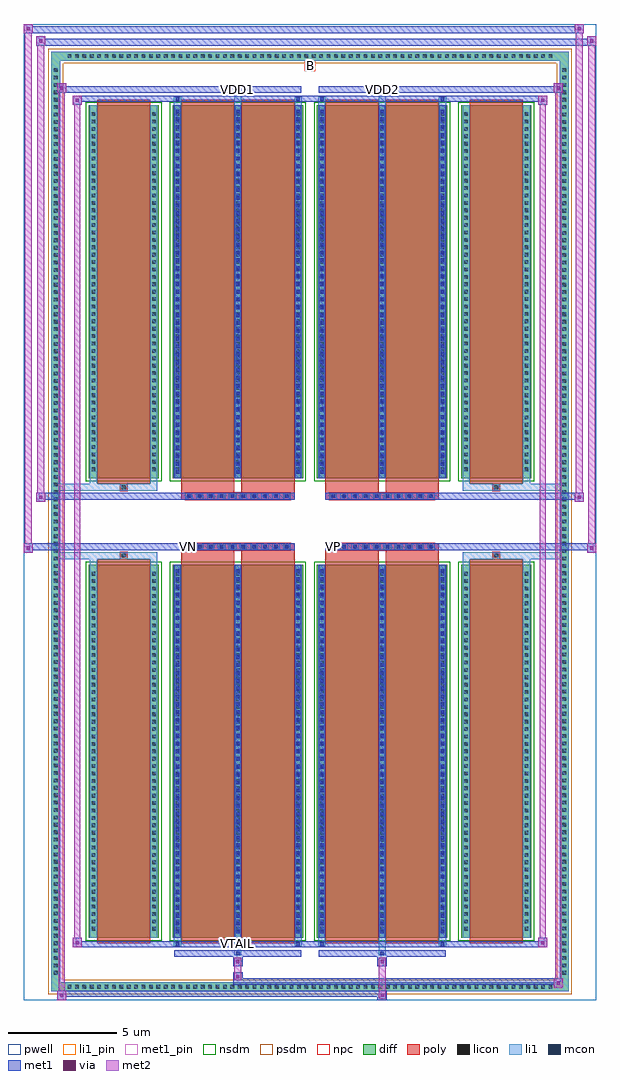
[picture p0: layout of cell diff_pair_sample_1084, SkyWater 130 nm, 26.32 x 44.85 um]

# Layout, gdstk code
import gdstk
lib = gdstk.Library(unit=1e-6, precision=5e-09)
def R(c, l, rs):  # rectangles x0, y0, x1, y1
    for r in rs: c.add(gdstk.rectangle(r[:2], r[2:], *l))
def A(c, l, x, y, w, h, nx, ny, dx, dy):  # array of equal rectangles
    R(c, l, [(x+i*dx, y+j*dy, x+i*dx+w, y+j*dy+h) for i in range(nx) for j in range(ny)])
def P(c, l, *ps):  # polygons
    for p in ps: c.add(gdstk.Polygon(p, *l))
pwell = (64, 44)
diff = (65, 20)
poly = (66, 20)
licon = (66, 44)
li1_pin = (67, 16)
li1 = (67, 20)
mcon = (67, 44)
met1_pin = (68, 16)
met1 = (68, 20)
via = (68, 44)
met2 = (69, 20)
nsdm = (93, 44)
psdm = (94, 20)
npc = (95, 20)

diff_pair_sample_1084 = lib.new_cell('diff_pair_sample_1084')
R(diff_pair_sample_1084, pwell, [(-13.16,-21.99,13.16,22.86), (-10.48,-20.18,-0.01,-0.8), (0.01,-20.18,10.48,-0.8), (-10.48,0.8,-0.01,20.18), (0.01,0.8,10.48,20.18)])
A(diff_pair_sample_1084, diff, -11.255, -21.59, 0.41, 0.41, 66, 2, 0.34, 42.77)
A(diff_pair_sample_1084, diff, -11.89, -20.945, 0.41, 0.41, 1, 123, 0, 0.34)
A(diff_pair_sample_1084, diff, 11.48, -20.945, 0.41, 0.41, 1, 123, 0, 0.34)
R(diff_pair_sample_1084, diff, [(-11.255,-21.59,11.255,-21.18), (-11.89,-20.945,-11.48,20.945), (11.48,-20.945,11.89,20.945), (-10.17,-19.135,-6.95,-1.985), (-6.31,-19.135,-0.32,-1.985), (0.32,-19.135,6.31,-1.985), (6.95,-19.135,10.17,-1.985), (-10.17,1.985,-6.95,19.135), (-6.31,1.985,-0.32,19.135), (0.32,1.985,6.31,19.135), (6.95,1.985,10.17,19.135), (-11.255,21.18,11.255,21.59)])
P(diff_pair_sample_1084, diff, [(11.89,21.59),(-11.89,21.59),(-11.89,-21.18),(-11.48,-21.18),(-11.48,21.18),(11.48,21.18),(11.48,-21.18),(-11.48,-21.18),(-11.89,-21.18),(-11.89,-21.59),(11.89,-21.59)])
A(diff_pair_sample_1084, poly, -5.73, -1.33, 0.33, 0.33, 10, 2, 0.5, 2.33)
A(diff_pair_sample_1084, poly, 0.9, -1.33, 0.33, 0.33, 10, 2, 0.5, 2.33)
R(diff_pair_sample_1084, poly, [(-9.78,-19.385,-7.34,-1.735), (-5.92,-19.385,-3.48,-1.735), (-3.15,-19.385,-0.71,-1.735), (0.71,-19.385,3.15,-1.735), (3.48,-19.385,5.92,-1.735), (7.34,-19.385,9.78,-1.735), (-8.725,-1.735,-8.395,-1.405), (-8.725,-1.735,-8.395,-1.405), (-5.92,-1.735,-3.48,-1.33), (-3.15,-1.735,-0.71,-1.33), (0.71,-1.735,3.15,-1.33), (3.48,-1.735,5.92,-1.33), (8.395,-1.735,8.725,-1.405), (8.395,-1.735,8.725,-1.405), (-5.92,-1.33,-0.71,-1), (0.71,-1.33,5.92,-1), (-5.92,1,-0.71,1.33), (0.71,1,5.92,1.33), (-5.92,1.33,-3.48,1.735), (-3.15,1.33,-0.71,1.735), (0.71,1.33,3.15,1.735), (3.48,1.33,5.92,1.735), (-8.725,1.405,-8.395,1.735), (-8.725,1.405,-8.395,1.735), (8.395,1.405,8.725,1.735), (8.395,1.405,8.725,1.735), (-9.78,1.735,-7.34,19.385), (-5.92,1.735,-3.48,19.385), (-3.15,1.735,-0.71,19.385), (0.71,1.735,3.15,19.385), (3.48,1.735,5.92,19.385), (7.34,1.735,9.78,19.385)])
A(diff_pair_sample_1084, licon, -11.135, -21.47, 0.17, 0.17, 66, 2, 0.34, 42.77)
A(diff_pair_sample_1084, licon, -11.77, -20.825, 0.17, 0.17, 1, 123, 0, 0.34)
A(diff_pair_sample_1084, licon, 11.6, -20.825, 0.17, 0.17, 1, 123, 0, 0.34)
A(diff_pair_sample_1084, licon, -10.03, -18.805, 0.17, 0.17, 1, 49, 0, 0.34)
A(diff_pair_sample_1084, licon, -7.26, -18.805, 0.17, 0.17, 1, 49, 0, 0.34)
A(diff_pair_sample_1084, licon, -6.17, -18.805, 0.17, 0.17, 3, 49, 2.77, 0.34)
A(diff_pair_sample_1084, licon, 0.46, -18.805, 0.17, 0.17, 3, 49, 2.77, 0.34)
A(diff_pair_sample_1084, licon, 7.09, -18.805, 0.17, 0.17, 1, 49, 0, 0.34)
A(diff_pair_sample_1084, licon, 9.86, -18.805, 0.17, 0.17, 1, 49, 0, 0.34)
A(diff_pair_sample_1084, licon, -5.65, -1.25, 0.17, 0.17, 10, 2, 0.5, 2.33)
A(diff_pair_sample_1084, licon, 0.98, -1.25, 0.17, 0.17, 10, 2, 0.5, 2.33)
A(diff_pair_sample_1084, licon, -10.03, 2.315, 0.17, 0.17, 1, 49, 0, 0.34)
A(diff_pair_sample_1084, licon, -7.26, 2.315, 0.17, 0.17, 1, 49, 0, 0.34)
A(diff_pair_sample_1084, licon, -6.17, 2.315, 0.17, 0.17, 3, 49, 2.77, 0.34)
A(diff_pair_sample_1084, licon, 0.46, 2.315, 0.17, 0.17, 3, 49, 2.77, 0.34)
A(diff_pair_sample_1084, licon, 7.09, 2.315, 0.17, 0.17, 1, 49, 0, 0.34)
A(diff_pair_sample_1084, licon, 9.86, 2.315, 0.17, 0.17, 1, 49, 0, 0.34)
R(diff_pair_sample_1084, licon, [(-8.645,-1.655,-8.475,-1.485), (8.475,-1.655,8.645,-1.485), (-8.645,1.485,-8.475,1.655), (8.475,1.485,8.645,1.655)])
R(diff_pair_sample_1084, li1_pin, [(-0.25,20.68,0.25,21.18)])
A(diff_pair_sample_1084, li1, -11.215, -21.55, 0.33, 0.33, 66, 2, 0.34, 42.77)
A(diff_pair_sample_1084, li1, -11.85, -20.905, 0.33, 0.33, 1, 123, 0, 0.34)
A(diff_pair_sample_1084, li1, 11.52, -20.905, 0.33, 0.33, 1, 123, 0, 0.34)
A(diff_pair_sample_1084, li1, -6.25, -19.135, 0.33, 17.15, 3, 2, 2.77, 21.12)
A(diff_pair_sample_1084, li1, 0.38, -19.135, 0.33, 17.15, 3, 2, 2.77, 21.12)
A(diff_pair_sample_1084, li1, -6.17, -18.925, 0.17, 0.17, 3, 47, 2.77, 0.36)
A(diff_pair_sample_1084, li1, -6.17, -18.925, 0.17, 16.73, 3, 2, 2.77, 21.12)
A(diff_pair_sample_1084, li1, 0.46, -18.925, 0.17, 0.17, 3, 47, 2.77, 0.36)
A(diff_pair_sample_1084, li1, 0.46, -18.925, 0.17, 16.73, 3, 2, 2.77, 21.12)
A(diff_pair_sample_1084, li1, -10.11, -18.885, 0.33, 0.33, 1, 49, 0, 0.34)
A(diff_pair_sample_1084, li1, -7.34, -18.885, 0.33, 0.33, 1, 49, 0, 0.34)
A(diff_pair_sample_1084, li1, -6.25, -18.885, 0.33, 0.33, 3, 49, 2.77, 0.34)
A(diff_pair_sample_1084, li1, 0.38, -18.885, 0.33, 0.33, 3, 49, 2.77, 0.34)
A(diff_pair_sample_1084, li1, 7.01, -18.885, 0.33, 0.33, 1, 49, 0, 0.34)
A(diff_pair_sample_1084, li1, 9.78, -18.885, 0.33, 0.33, 1, 49, 0, 0.34)
A(diff_pair_sample_1084, li1, -5.73, -1.33, 0.33, 0.33, 10, 2, 0.5, 2.33)
A(diff_pair_sample_1084, li1, 0.9, -1.33, 0.33, 0.33, 10, 2, 0.5, 2.33)
A(diff_pair_sample_1084, li1, -6.17, 2.195, 0.17, 0.17, 3, 47, 2.77, 0.36)
A(diff_pair_sample_1084, li1, 0.46, 2.195, 0.17, 0.17, 3, 47, 2.77, 0.36)
A(diff_pair_sample_1084, li1, -10.11, 2.235, 0.33, 0.33, 1, 49, 0, 0.34)
A(diff_pair_sample_1084, li1, -7.34, 2.235, 0.33, 0.33, 1, 49, 0, 0.34)
A(diff_pair_sample_1084, li1, -6.25, 2.235, 0.33, 0.33, 3, 49, 2.77, 0.34)
A(diff_pair_sample_1084, li1, 0.38, 2.235, 0.33, 0.33, 3, 49, 2.77, 0.34)
A(diff_pair_sample_1084, li1, 7.01, 2.235, 0.33, 0.33, 1, 49, 0, 0.34)
A(diff_pair_sample_1084, li1, 9.78, 2.235, 0.33, 0.33, 1, 49, 0, 0.34)
R(diff_pair_sample_1084, li1, [(-11.89,-21.59,-11.48,-21.18), (-11.89,-21.59,-11.48,-21.18), (-11.48,-21.59,11.48,-21.18), (11.48,-21.59,11.89,-21.18), (11.48,-21.59,11.89,-21.18), (-11.89,-21.18,-11.48,21.18), (11.48,-21.18,11.89,21.18), (-3.48,-19.94,-3.15,-19.135), (-3.4,-19.94,-3.23,-19.77), (3.15,-19.94,3.48,-19.135), (3.23,-19.94,3.4,-19.77), (-6.25,-19.51,-5.92,-19.135), (-6.17,-19.51,-6,-19.34), (-0.71,-19.51,-0.38,-19.135), (-0.63,-19.51,-0.46,-19.34), (0.38,-19.51,0.71,-19.135), (0.46,-19.51,0.63,-19.34), (5.92,-19.51,6.25,-19.135), (6,-19.51,6.17,-19.34), (-10.11,-19.135,-9.78,-1.985), (-7.34,-19.135,-7.01,-1.985), (7.01,-19.135,7.34,-1.985), (9.78,-19.135,10.11,-1.985), (-10.11,-1.985,-9.78,-1.405), (-7.34,-1.985,-7.01,-1.405), (7.01,-1.985,7.34,-1.405), (9.78,-1.985,10.11,-1.405), (-11.89,-1.735,-8.725,-1.405), (-10.11,-1.735,-8.725,-1.405), (-8.725,-1.735,-8.395,-1.405), (-8.395,-1.735,-7.01,-1.405), (7.01,-1.735,8.395,-1.405), (8.395,-1.735,8.725,-1.405), (8.395,-1.735,11.89,-1.405), (8.725,-1.735,10.11,-1.405), (-11.89,1.405,-8.725,1.735), (-10.11,1.405,-8.725,1.735), (-10.11,1.405,-9.78,1.985), (-8.725,1.405,-8.395,1.735), (-8.395,1.405,-7.01,1.735), (-7.34,1.405,-7.01,1.985), (7.01,1.405,8.395,1.735), (7.01,1.405,7.34,1.985), (8.395,1.405,8.725,1.735), (8.395,1.405,11.89,1.735), (8.725,1.405,10.11,1.735), (9.78,1.405,10.11,1.985), (-10.11,1.985,-9.78,19.135), (-7.34,1.985,-7.01,19.135), (7.01,1.985,7.34,19.135), (9.78,1.985,10.11,19.135), (-6.25,19.135,-5.92,19.51), (-3.48,19.135,-3.15,19.94), (-0.71,19.135,-0.38,19.51), (0.38,19.135,0.71,19.51), (3.15,19.135,3.48,19.94), (5.92,19.135,6.25,19.51), (-6.17,19.34,-6,19.51), (-0.63,19.34,-0.46,19.51), (0.46,19.34,0.63,19.51), (6,19.34,6.17,19.51), (-3.4,19.77,-3.23,19.94), (3.23,19.77,3.4,19.94), (-11.89,21.18,-11.48,21.59), (-11.89,21.18,-11.48,21.59), (-11.48,21.18,11.48,21.59), (11.48,21.18,11.89,21.59), (11.48,21.18,11.89,21.59)])
A(diff_pair_sample_1084, mcon, -6.17, -18.925, 0.17, 0.17, 3, 47, 2.77, 0.36)
A(diff_pair_sample_1084, mcon, 0.46, -18.925, 0.17, 0.17, 3, 47, 2.77, 0.36)
A(diff_pair_sample_1084, mcon, -5.65, -1.25, 0.17, 0.17, 10, 2, 0.5, 2.33)
A(diff_pair_sample_1084, mcon, 0.98, -1.25, 0.17, 0.17, 10, 2, 0.5, 2.33)
A(diff_pair_sample_1084, mcon, -6.17, 2.195, 0.17, 0.17, 3, 47, 2.77, 0.36)
A(diff_pair_sample_1084, mcon, 0.46, 2.195, 0.17, 0.17, 3, 47, 2.77, 0.36)
R(diff_pair_sample_1084, mcon, [(-3.4,-19.94,-3.23,-19.77), (3.23,-19.94,3.4,-19.77), (-6.17,-19.51,-6,-19.34), (-0.63,-19.51,-0.46,-19.34), (0.46,-19.51,0.63,-19.34), (6,-19.51,6.17,-19.34), (-6.17,19.34,-6,19.51), (-0.63,19.34,-0.46,19.51), (0.46,19.34,0.63,19.51), (6,19.34,6.17,19.51), (-3.4,19.77,-3.23,19.94), (3.23,19.77,3.4,19.94)])
R(diff_pair_sample_1084, met1_pin, [(-3.45,-19.55,-3.18,-19.28), (-5.7,-1.29,-5.43,-1.02), (0.93,-1.29,1.2,-1.02), (-3.45,19.73,-3.18,20), (3.18,19.73,3.45,20)])
A(diff_pair_sample_1084, met1, -6.23, -19.135, 0.29, 17.15, 3, 2, 2.77, 21.12)
A(diff_pair_sample_1084, met1, 0.4, -19.135, 0.29, 17.15, 3, 2, 2.77, 21.12)
A(diff_pair_sample_1084, met1, -6.23, -18.985, 0.29, 0.29, 3, 47, 2.77, 0.36)
A(diff_pair_sample_1084, met1, 0.4, -18.985, 0.29, 0.29, 3, 47, 2.77, 0.36)
A(diff_pair_sample_1084, met1, -5.71, -1.31, 0.29, 0.29, 10, 2, 0.5, 2.33)
A(diff_pair_sample_1084, met1, 0.92, -1.31, 0.29, 0.29, 10, 2, 0.5, 2.33)
A(diff_pair_sample_1084, met1, -6.23, 2.135, 0.29, 0.29, 3, 47, 2.77, 0.36)
A(diff_pair_sample_1084, met1, 0.4, 2.135, 0.29, 0.29, 3, 47, 2.77, 0.36)
R(diff_pair_sample_1084, met1, [(-11.62,-21.99,-11.19,-21.56), (3.1,-21.99,3.53,-21.56), (-11.62,-21.85,3.53,-21.56), (11.19,-21.42,11.62,-20.99), (-3.53,-21.28,11.62,-20.99), (-3.53,-21.14,-3.1,-20.71), (-3.53,-20.43,-3.1,-20), (3.1,-20.43,3.53,-20), (-6.23,-20,-0.4,-19.71), (-3.46,-20,-3.17,-19.71), (0.4,-20,6.23,-19.71), (3.17,-20,3.46,-19.71), (-10.91,-19.57,-10.48,-19.14), (-10.91,-19.57,-6.23,-19.28), (-6.23,-19.57,-5.94,-19.28), (-6.23,-19.57,-0.4,-19.28), (-0.69,-19.57,-0.4,-19.28), (-0.4,-19.57,0.4,-19.28), (0.4,-19.57,0.69,-19.28), (0.4,-19.57,6.23,-19.28), (5.94,-19.57,6.23,-19.28), (6.23,-19.57,10.91,-19.28), (10.48,-19.57,10.91,-19.14), (-13.16,-1.43,-12.73,-1), (12.73,-1.43,13.16,-1), (-13.16,-1.33,-0.71,-1), (-5.92,-1.33,-0.71,-1), (0.71,-1.33,5.92,-1), (0.71,-1.33,13.16,-1), (-12.59,0.9,-12.16,1.33), (12.16,0.9,12.59,1.33), (-12.59,1,-5.92,1.33), (-5.92,1,-0.71,1.33), (0.71,1,5.92,1.33), (5.92,1,12.59,1.33), (-10.91,19.14,-10.48,19.57), (10.48,19.14,10.91,19.57), (-10.91,19.28,-6.23,19.57), (-6.23,19.28,-5.94,19.57), (-6.23,19.28,-0.4,19.57), (-0.69,19.28,-0.4,19.57), (-0.4,19.28,0.4,19.57), (0.4,19.28,0.69,19.57), (0.4,19.28,6.23,19.57), (5.94,19.28,6.23,19.57), (6.23,19.28,10.91,19.57), (-11.62,19.71,-11.19,20.14), (-11.62,19.71,-6.23,20), (-6.23,19.71,-0.4,20), (-3.46,19.71,-3.17,20), (0.4,19.71,6.23,20), (3.17,19.71,3.46,20), (6.23,19.71,11.62,20), (11.19,19.71,11.62,20.14), (-12.59,21.86,-12.16,22.29), (-12.59,21.86,-10.48,22.19), (-10.48,21.86,10.48,22.19), (10.48,21.86,13.16,22.19), (12.73,21.86,13.16,22.29), (-13.16,22.43,-12.73,22.86), (-13.16,22.43,-10.48,22.76), (-10.48,22.43,10.48,22.76), (10.48,22.43,12.59,22.76), (12.16,22.43,12.59,22.86)])
R(diff_pair_sample_1084, via, [(-11.48,-21.85,-11.33,-21.7), (3.24,-21.85,3.39,-21.7), (11.33,-21.28,11.48,-21.13), (-3.39,-21,-3.24,-20.85), (-3.39,-20.29,-3.24,-20.14), (3.24,-20.29,3.39,-20.14), (-10.77,-19.43,-10.62,-19.28), (10.62,-19.43,10.77,-19.28), (-13.02,-1.29,-12.87,-1.14), (12.87,-1.29,13.02,-1.14), (-12.45,1.04,-12.3,1.19), (12.3,1.04,12.45,1.19), (-10.77,19.28,-10.62,19.43), (10.62,19.28,10.77,19.43), (-11.48,19.85,-11.33,20), (11.33,19.85,11.48,20), (-12.45,22,-12.3,22.15), (12.87,22,13.02,22.15), (-13.02,22.57,-12.87,22.72), (12.3,22.57,12.45,22.72)])
R(diff_pair_sample_1084, met2, [(-11.62,-21.99,-11.19,-21.56), (-11.55,-21.99,-11.26,20.14), (-11.26,-21.99,-11.19,-21.56), (-11.57,-21.94,-11.24,-21.61), (3.15,-21.94,3.48,-21.61), (3.15,-21.61,3.48,-20.38), (11.19,-21.42,11.62,-20.99), (11.26,-21.42,11.55,20.14), (11.55,-21.42,11.62,-20.99), (11.24,-21.37,11.57,-21.04), (-3.48,-21.09,-3.15,-20.76), (-3.48,-20.76,-3.15,-20.38), (-3.48,-20.38,-3.15,-20.05), (3.15,-20.38,3.48,-20.05), (-10.91,-19.57,-10.48,-19.14), (-10.84,-19.57,-10.55,19.57), (-10.55,-19.57,-10.48,-19.14), (10.48,-19.57,10.91,-19.14), (10.55,-19.57,10.84,19.57), (10.84,-19.57,10.91,-19.14), (-10.86,-19.52,-10.53,-19.19), (10.53,-19.52,10.86,-19.19), (-13.16,-1.43,-12.73,-1), (-13.11,-1.43,-12.78,22.86), (-12.78,-1.43,-12.73,-1), (12.73,-1.43,13.16,-1), (12.78,-1.43,13.11,22.29), (13.11,-1.43,13.16,-1), (-13.11,-1.38,-12.78,-1.05), (12.78,-1.38,13.11,-1.05), (-12.59,0.9,-12.16,1.33), (-12.54,0.9,-12.21,22.29), (-12.21,0.9,-12.16,1.33), (12.16,0.9,12.59,1.33), (12.21,0.9,12.54,22.86), (12.54,0.9,12.59,1.33), (-12.54,0.95,-12.21,1.28), (12.21,0.95,12.54,1.28), (-10.91,19.14,-10.48,19.57), (-10.55,19.14,-10.48,19.57), (10.48,19.14,10.91,19.57), (10.84,19.14,10.91,19.57), (-10.86,19.19,-10.53,19.52), (10.53,19.19,10.86,19.52), (-11.62,19.71,-11.19,20.14), (-11.26,19.71,-11.19,20.14), (11.19,19.71,11.62,20.14), (11.55,19.71,11.62,20.14), (-11.57,19.76,-11.24,20.09), (11.24,19.76,11.57,20.09), (-12.59,21.86,-12.16,22.29), (-12.21,21.86,-12.16,22.29), (12.73,21.86,13.16,22.29), (13.11,21.86,13.16,22.29), (-12.54,21.91,-12.21,22.24), (12.78,21.91,13.11,22.24), (-13.16,22.43,-12.73,22.86), (-12.78,22.43,-12.73,22.86), (12.16,22.43,12.59,22.86), (12.54,22.43,12.59,22.86), (-13.11,22.48,-12.78,22.81), (12.21,22.48,12.54,22.81)])
R(diff_pair_sample_1084, nsdm, [(-10.3,-19.265,-6.82,-1.855), (-6.44,-19.265,-0.19,-1.855), (0.19,-19.265,6.44,-1.855), (6.82,-19.265,10.3,-1.855), (-10.3,1.855,-6.82,19.265), (-6.44,1.855,-0.19,19.265), (0.19,1.855,6.44,19.265), (6.82,1.855,10.3,19.265)])
P(diff_pair_sample_1084, psdm, [(12.02,21.72),(-12.02,21.72),(-12.02,-21.05),(-11.35,-21.05),(-11.35,21.05),(11.35,21.05),(11.35,-21.05),(-11.35,-21.05),(-12.02,-21.05),(-12.02,-21.72),(12.02,-21.72)])
A(diff_pair_sample_1084, npc, -5.75, -1.35, 0.37, 0.37, 10, 2, 0.5, 2.33)
A(diff_pair_sample_1084, npc, 0.88, -1.35, 0.37, 0.37, 10, 2, 0.5, 2.33)
R(diff_pair_sample_1084, npc, [(-8.745,-1.755,-8.375,-1.385), (8.375,-1.755,8.745,-1.385), (-5.75,-1.35,-4.88,-0.98), (-5.75,-1.35,-4.88,-0.98), (-5.25,-1.35,-4.38,-0.98), (-5.25,-1.35,-4.38,-0.98), (-4.75,-1.35,-3.88,-0.98), (-4.75,-1.35,-3.88,-0.98), (-4.25,-1.35,-3.38,-0.98), (-4.25,-1.35,-3.38,-0.98), (-3.75,-1.35,-2.88,-0.98), (-3.75,-1.35,-2.88,-0.98), (-3.25,-1.35,-2.38,-0.98), (-3.25,-1.35,-2.38,-0.98), (-2.75,-1.35,-1.88,-0.98), (-2.75,-1.35,-1.88,-0.98), (-2.25,-1.35,-1.38,-0.98), (-2.25,-1.35,-1.38,-0.98), (-1.75,-1.35,-0.88,-0.98), (-1.75,-1.35,-0.88,-0.98), (0.88,-1.35,1.75,-0.98), (0.88,-1.35,1.75,-0.98), (1.38,-1.35,2.25,-0.98), (1.38,-1.35,2.25,-0.98), (1.88,-1.35,2.75,-0.98), (1.88,-1.35,2.75,-0.98), (2.38,-1.35,3.25,-0.98), (2.38,-1.35,3.25,-0.98), (2.88,-1.35,3.75,-0.98), (2.88,-1.35,3.75,-0.98), (3.38,-1.35,4.25,-0.98), (3.38,-1.35,4.25,-0.98), (3.88,-1.35,4.75,-0.98), (3.88,-1.35,4.75,-0.98), (4.38,-1.35,5.25,-0.98), (4.38,-1.35,5.25,-0.98), (4.88,-1.35,5.75,-0.98), (4.88,-1.35,5.75,-0.98), (-5.75,0.98,-4.88,1.35), (-5.75,0.98,-4.88,1.35), (-5.25,0.98,-4.38,1.35), (-5.25,0.98,-4.38,1.35), (-4.75,0.98,-3.88,1.35), (-4.75,0.98,-3.88,1.35), (-4.25,0.98,-3.38,1.35), (-4.25,0.98,-3.38,1.35), (-3.75,0.98,-2.88,1.35), (-3.75,0.98,-2.88,1.35), (-3.25,0.98,-2.38,1.35), (-3.25,0.98,-2.38,1.35), (-2.75,0.98,-1.88,1.35), (-2.75,0.98,-1.88,1.35), (-2.25,0.98,-1.38,1.35), (-2.25,0.98,-1.38,1.35), (-1.75,0.98,-0.88,1.35), (-1.75,0.98,-0.88,1.35), (0.88,0.98,1.75,1.35), (0.88,0.98,1.75,1.35), (1.38,0.98,2.25,1.35), (1.38,0.98,2.25,1.35), (1.88,0.98,2.75,1.35), (1.88,0.98,2.75,1.35), (2.38,0.98,3.25,1.35), (2.38,0.98,3.25,1.35), (2.88,0.98,3.75,1.35), (2.88,0.98,3.75,1.35), (3.38,0.98,4.25,1.35), (3.38,0.98,4.25,1.35), (3.88,0.98,4.75,1.35), (3.88,0.98,4.75,1.35), (4.38,0.98,5.25,1.35), (4.38,0.98,5.25,1.35), (4.88,0.98,5.75,1.35), (4.88,0.98,5.75,1.35), (-8.745,1.385,-8.375,1.755), (8.375,1.385,8.745,1.755)])
diff_pair_sample_1084.add(gdstk.Label('VTAIL', (-3.315,-19.415), layer=68, texttype=5))
diff_pair_sample_1084.add(gdstk.Label('VN', (-5.565,-1.155), layer=68, texttype=5))
diff_pair_sample_1084.add(gdstk.Label('VP', (1.065,-1.155), layer=68, texttype=5))
diff_pair_sample_1084.add(gdstk.Label('B', (0,20.93), layer=67, texttype=5))
diff_pair_sample_1084.add(gdstk.Label('VDD2', (3.315,19.865), layer=68, texttype=5))
diff_pair_sample_1084.add(gdstk.Label('VDD1', (-3.315,19.865), layer=68, texttype=5))

lib.write_gds('diff_pair_sample_1084.gds')
